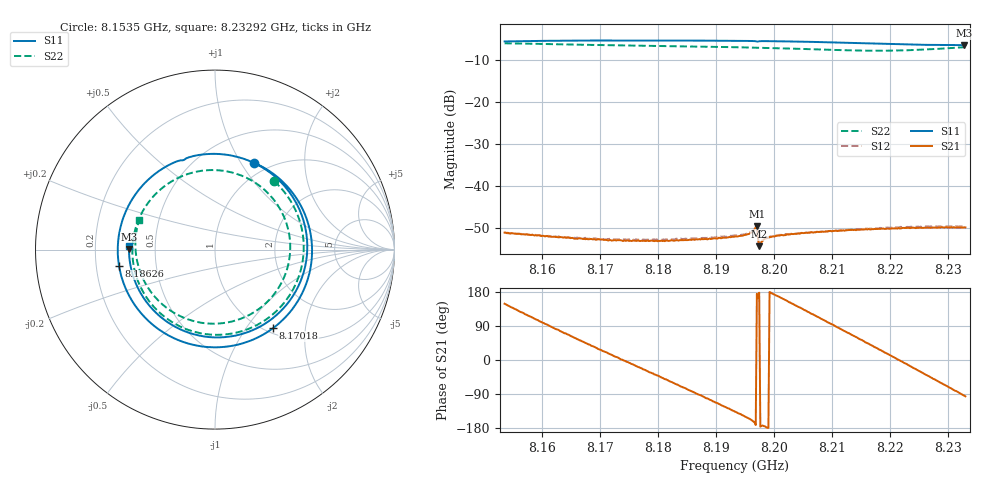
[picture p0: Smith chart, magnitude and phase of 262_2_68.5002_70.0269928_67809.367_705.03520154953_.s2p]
#  HZ  S  RI  R  50.00
! Rohde & Schwarz Vector Network Analyzer
! Rohde-Schwarz,ZNB20-2Port,1311601062101988,3.16
! Created: UTC 3/20/2024, 5:00:18 PM
! freq[Hz]  re:S11  im:S11  re:S21  im:S21  re:S12  im:S12  re:S22  im:S22
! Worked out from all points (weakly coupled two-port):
!   401 points, 8.1535 GHz to 8.23292 GHz, reference 50 ohm
!   highest |S21| = -49.52 dB at 8.19698 GHz (marker M1); lowest = -54.2 dB at 8.19738 GHz (marker M2)
!   lowest |S11| = -6.4 dB at 8.23272 GHz (marker M3), VSWR 2.84, Z = 17.6 + j0.167 ohm
!   |S11| at or under -10 dB: nowhere
!   |S22| runs from -7.7 to -6.0 dB; largest |S21 - S12| = 0.00027
!   S11 on the Smith chart (normalised r, x): 8.1535 GHz: 0.85, +1.14; 8.17018 GHz: 1.09, -1.35; 8.18626 GHz: 0.30, -0.08; 8.23292 GHz: 0.35, +0.02
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8.153502e9  0.2166 0.4838  -0.0024 0.00147  -0.00236 0.00151  0.3299 0.3807
8.160451e9  0.5185 0.1471  -0.000247 0.00253  -0.000257 0.00253  0.4941 -0.00116
8.166805e9  0.4733 -0.2665  0.00155 0.00182  0.00156 0.00187  0.3453 -0.3394
8.17018e9  0.3243 -0.437  0.00209 0.00102  0.00215 0.00104  0.1802 -0.444
8.175144e9  0.00906 -0.5443  0.00223 -0.00032  0.00231 -0.000361  -0.1001 -0.4619
8.180108e9  -0.3121 -0.4455  0.00166 -0.00152  0.00166 -0.00159  -0.3385 -0.3214
8.186263e9  -0.5342 -0.0931  0.000155 -0.00231  0.000108 -0.00241  -0.4604 -0.00881
8.189638e9  -0.5223 0.1407  -0.000829 -0.00226  -0.000894 -0.0023  -0.4226 0.1738
8.193212e9  -0.4026 0.3585  -0.00184 -0.00175  -0.00194 -0.00174  -0.306 0.3332
8.196588e9  -0.2069 0.4934  -0.00296 -0.000788  -0.00305 -0.000707  -0.1418 0.4242
8.196985e9  -0.1787 0.4977  -0.00333 0.000302  -0.00339 0.000442  -0.1202 0.43
8.197382e9  -0.161 0.5081  -0.00194 7.92e-05  -0.00196 0.000148  -0.0985 0.4351
8.20175e9  0.1456 0.5106  -0.00246 0.000916  -0.00245 0.00106  0.1459 0.4131
8.206515e9  0.416 0.318  -0.00148 0.00242  -0.00139 0.00248  0.3551 0.2385
8.209692e9  0.5051 0.1117  -0.000285 0.00294  -0.000231 0.00294  0.4167 0.0605
8.212869e9  0.4974 -0.1139  0.001 0.00285  0.00109 0.00287  0.3941 -0.1311
8.216046e9  0.3922 -0.3149  0.0022 0.00214  0.00231 0.00213  0.2853 -0.2968
8.219818e9  0.1678 -0.4647  0.00304 0.00075  0.00315 0.000634  0.0692 -0.4059
8.225576e9  -0.2349 -0.4227  0.00267 -0.00181  0.00268 -0.00196  -0.2933 -0.3052
8.22915e9  -0.4147 -0.2416  0.00141 -0.00292  0.00129 -0.00308  -0.4252 -0.0984
8.232724e9  -0.4791 0.00366  -0.000228 -0.00325  -0.000428 -0.00331  -0.4271 0.1497
8.232923e9  -0.4789 0.0179  -0.000334 -0.00323  -0.000531 -0.00329  -0.4231 0.1631
